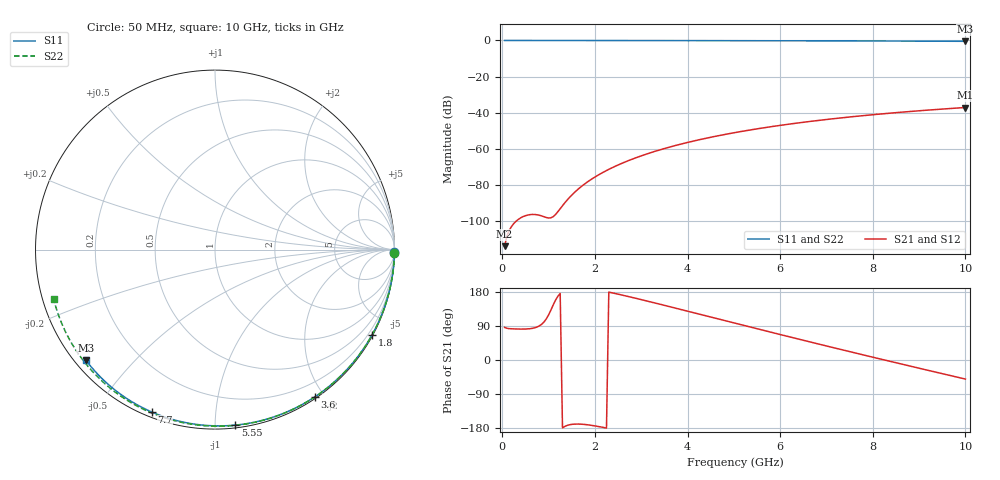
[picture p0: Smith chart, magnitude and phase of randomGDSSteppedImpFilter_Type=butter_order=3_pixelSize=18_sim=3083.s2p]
! freq	dB(S11)	phase(S11)	dB(S12)	phase(S12)
!  dB(S21)	phase(S21)	dB(S22)	phase(S22)
!S-par simulation data
#  GHz  S  DB  R 50
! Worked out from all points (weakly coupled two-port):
!   200 points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, 50 MHz to 10 GHz, reference 50 ohm
!   highest |S21| = -37.11 dB at 10 GHz (marker M1); lowest = -113.9 dB at 50 MHz (marker M2)
!   lowest |S11| = -0.5 dB at 10 GHz (marker M3), VSWR 36.74, Z = 1.55 - j18.4 ohm
!   |S11| at or under -10 dB: nowhere
!   |S22| runs from -0.5 to 0.0 dB; largest |S21 - S12| = 0
!   S11 on the Smith chart (normalised r, x): 50 MHz: open; 1.8 GHz: 0.03, -3.92; 3.6 GHz: 0.02, -1.89; 5.55 GHz: 0.02, -1.12; 7.7 GHz: 0.02, -0.68; 10 GHz: 0.03, -0.37
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0.05  -0.00 -0.8  -113.86 86.0  -113.86 86.0  -0.00 -1.0
0.45  -0.01 -7.3  -97.49 81.6  -97.49 81.6  -0.01 -8.6
0.85  -0.02 -13.7  -97.13 94.3  -97.13 94.3  -0.02 -16.2
1.3  -0.03 -20.8  -91.45 -179.0  -91.45 -179.0  -0.03 -24.6
1.75  -0.04 -27.8  -79.97 -169.8  -79.97 -169.8  -0.04 -32.9
1.8  -0.04 -28.6  -79.02 -170.4  -79.02 -170.4  -0.04 -33.8
1.95  -0.04 -30.9  -76.40 -172.9  -76.40 -172.9  -0.05 -36.5
2.1  -0.04 -33.3  -74.08 -176.0  -74.08 -176.0  -0.05 -39.3
2.3  -0.05 -36.4  -71.34 179.1  -71.34 179.1  -0.05 -42.9
2.5  -0.05 -39.4  -68.92 173.8  -68.92 173.8  -0.06 -46.4
2.9  -0.06 -45.5  -64.79 162.3  -64.79 162.3  -0.07 -53.5
3.4  -0.07 -52.9  -60.57 147.3  -60.57 147.3  -0.08 -62.2
3.6  -0.08 -55.9  -59.10 141.2  -59.10 141.2  -0.09 -65.6
4.3  -0.09 -66.0  -54.68 119.6  -54.68 119.6  -0.11 -77.3
5.05  -0.12 -76.5  -50.87 96.4  -50.87 96.4  -0.14 -89.4
5.55  -0.14 -83.4  -48.72 81.0  -48.72 81.0  -0.16 -97.2
6.1  -0.16 -90.7  -46.64 64.2  -46.64 64.2  -0.19 -105.7
6.7  -0.19 -98.6  -44.65 46.0  -44.65 46.0  -0.22 -114.7
7.7  -0.25 -111.3  -41.84 16.2  -41.84 16.2  -0.29 -129.4
8.35  -0.31 -119.4  -40.29 -2.9  -40.29 -2.9  -0.35 -138.8
9.2  -0.38 -129.8  -38.53 -27.4  -38.53 -27.4  -0.44 -151.1
10  -0.47 -139.5  -37.11 -50.3  -37.11 -50.3  -0.54 -162.9
